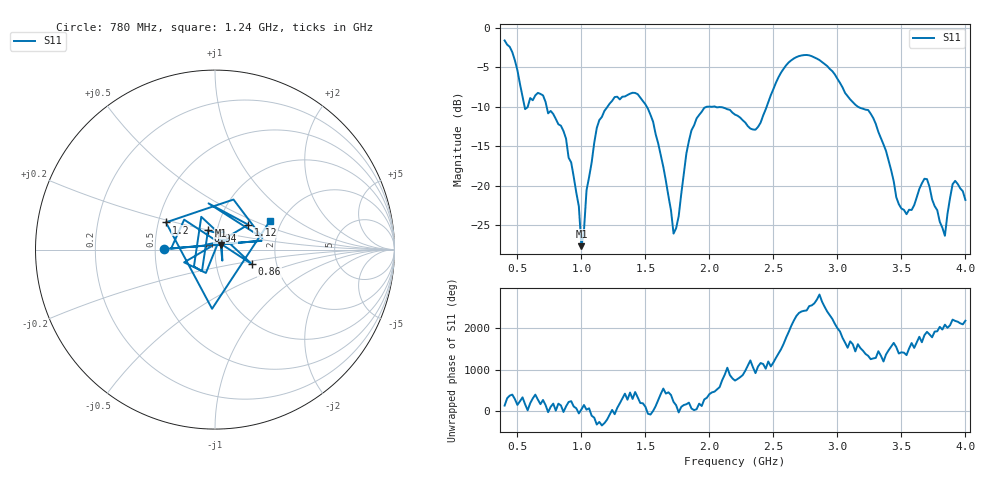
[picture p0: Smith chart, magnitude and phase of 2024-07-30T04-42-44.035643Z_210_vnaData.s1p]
!Created with skrf (http://scikit-rf.org).
# Hz S RI R 50.0
!freq ReS11 ImS11
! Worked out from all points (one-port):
!   181 points, 400 MHz to 4 GHz, reference 50 ohm
!   lowest |S11| = -27.7 dB at 1 GHz (marker M1), VSWR 1.09, Z = 53.2 + j2.75 ohm
!   |S11| at or under -10 dB: 728.3 MHz to 1.204 GHz (475.8 MHz wide, 49.2 % of centre); 1.511 GHz to 1.989 GHz (478.3 MHz wide, 27.3 % of centre); 3.159 GHz to end of sweep (the widest 3 of 6)
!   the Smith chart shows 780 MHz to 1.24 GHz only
!   S11 on the Smith chart (normalised r, x): 780 MHz: 0.56, +0.00; 860 MHz: 1.49, -0.26; 940 MHz: 0.90, +0.20; 1.12 GHz: 1.39, +0.41; 1.2 GHz: 0.55, +0.18; 1.24 GHz: 1.74, +0.63
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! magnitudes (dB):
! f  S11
! 400 MHz  -1.6
! 560 MHz  -10.3
! 660 MHz  -8.2
! 780 MHz  -10.9
! 860 MHz  -13.1
! 940 MHz  -18.9
! 1 GHz  -27.7
! 1.12 GHz  -12.7
! 1.2 GHz  -10.1
! 1.24 GHz  -9.3
! 1.3 GHz  -9.1
! 1.52 GHz  -10.3
! 1.72 GHz  -26.1
! 1.76 GHz  -23.9
! 1.82 GHz  -16.0
! 1.9 GHz  -11.5
! 2.2 GHz  -11.0
! 2.36 GHz  -12.9
! 2.66 GHz  -3.9
! 2.86 GHz  -4.1
! 3.1 GHz  -9.1
! 3.28 GHz  -11.4
! 3.48 GHz  -22.4
! 3.56 GHz  -23.1
! 3.7 GHz  -19.2
! 3.84 GHz  -26.4
! 3.9 GHz  -19.8
! 4 GHz  -21.8
